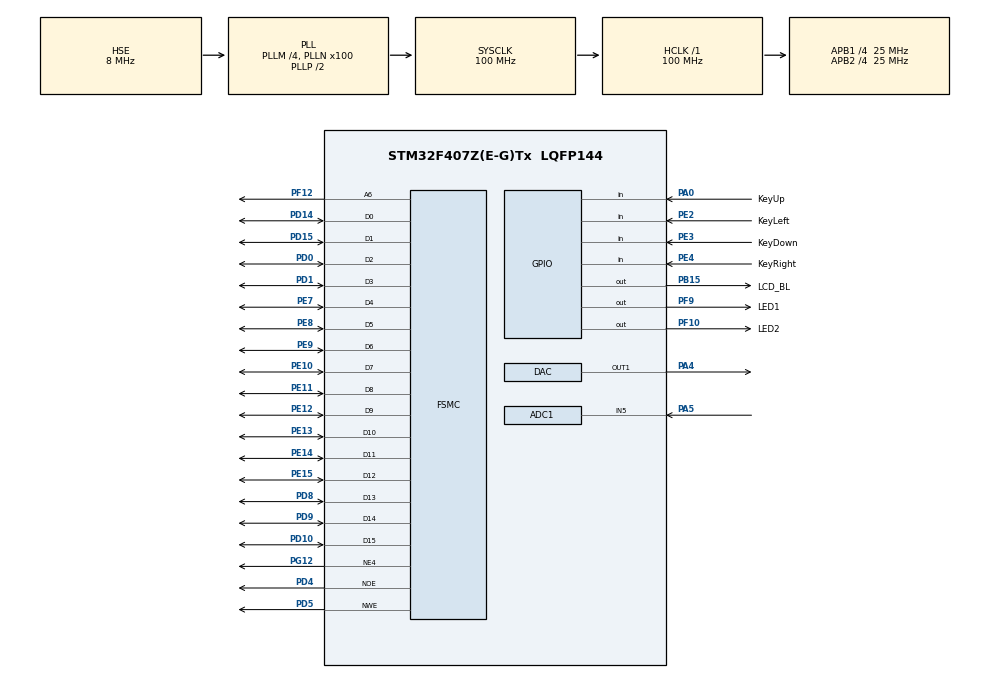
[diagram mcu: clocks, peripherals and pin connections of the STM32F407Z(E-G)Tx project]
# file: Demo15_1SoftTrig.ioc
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ADC1.Channel-0\#ChannelRegularConversion=ADC_CHANNEL_5
ADC1.ExternalTrigConv=ADC_EXTERNALTRIGCONV_T3_TRGO
ADC1.NbrOfConversionFlag=1
ADC1.Rank-0\#ChannelRegularConversion=1
ADC1.SamplingTime-0\#ChannelRegularConversion=ADC_SAMPLETIME_3CYCLES
ADC1.master=1
FSMC.AccessMode4=FSMC_ACCESS_MODE_A
FSMC.AddressSetupTime4=2
FSMC.BusTurnAroundDuration4=0
FSMC.DataSetupTime4=16
FSMC.ExtendedAccessMode4=FSMC_ACCESS_MODE_A
FSMC.ExtendedAddressSetupTime4=4
FSMC.ExtendedBusTurnAroundDuration4=0
FSMC.ExtendedDataSetupTime4=9
FSMC.ExtendedMode4=FSMC_EXTENDED_MODE_ENABLE
FSMC.NSBank4=FSMC_NORSRAM_BANK4
FSMC.WriteOperation4=FSMC_WRITE_OPERATION_ENABLE
Mcu.Family=STM32F4
Mcu.Name=STM32F407Z(E-G)Tx
Mcu.Package=LQFP144
NVIC.ADC_IRQn=true\:1\:0\:true\:false\:true\:true\:true\:true
NVIC.PriorityGroup=NVIC_PRIORITYGROUP_4
PA0-WKUP.GPIO_Label=KeyUp
PA0-WKUP.GPIO_PuPd=GPIO_PULLDOWN
PA0-WKUP.Signal=GPIO_Input
PA13.Mode=Serial_Wire
PA13.Signal=SYS_JTMS-SWDIO
PA14.Mode=Serial_Wire
PA14.Signal=SYS_JTCK-SWCLK
PA4.Signal=COMP_DAC1_group
PA5.Signal=ADCx_IN5
PB15.GPIO_Label=LCD_BL
PB15.PinState=GPIO_PIN_RESET
PB15.Signal=GPIO_Output
PC14-OSC32_IN.Mode=LSE-External-Oscillator
PC14-OSC32_IN.Signal=RCC_OSC32_IN
PC15-OSC32_OUT.Mode=LSE-External-Oscillator
PC15-OSC32_OUT.Signal=RCC_OSC32_OUT
PD0.Signal=FSMC_D2_DA2
PD1.Signal=FSMC_D3_DA3
PD10.Signal=FSMC_D15_DA15
PD14.Signal=FSMC_D0_DA0
PD15.Signal=FSMC_D1_DA1
PD4.Signal=FSMC_NOE
PD5.Signal=FSMC_NWE
PD8.Signal=FSMC_D13_DA13
PD9.Signal=FSMC_D14_DA14
PE10.Signal=FSMC_D7_DA7
PE11.Signal=FSMC_D8_DA8
PE12.Signal=FSMC_D9_DA9
PE13.Signal=FSMC_D10_DA10
PE14.Signal=FSMC_D11_DA11
PE15.Signal=FSMC_D12_DA12
PE2.GPIO_Label=KeyLeft
PE2.GPIO_PuPd=GPIO_PULLUP
PE2.Signal=GPIO_Input
PE3.GPIO_Label=KeyDown
PE3.GPIO_PuPd=GPIO_PULLUP
PE3.Signal=GPIO_Input
PE4.GPIO_Label=KeyRight
PE4.GPIO_PuPd=GPIO_PULLUP
PE4.Signal=GPIO_Input
PE7.Signal=FSMC_D4_DA4
PE8.Signal=FSMC_D5_DA5
PE9.Signal=FSMC_D6_DA6
PF10.GPIO_Label=LED2
PF10.Signal=GPIO_Output
PF12.Signal=FSMC_A6
PF9.GPIO_Label=LED1
PF9.Signal=GPIO_Output
PG12.Mode=NorPsramChipSelect4_4
PG12.Signal=FSMC_NE4
PH0-OSC_IN.Mode=HSE-External-Oscillator
PH0-OSC_IN.Signal=RCC_OSC_IN
PH1-OSC_OUT.Mode=HSE-External-Oscillator
PH1-OSC_OUT.Signal=RCC_OSC_OUT
ProjectManager.HeapSize=0x200
ProjectManager.StackSize=0x400
ProjectManager.TargetToolchain=STM32CubeIDE
RCC.48MHZClocksFreq_Value=50000000
RCC.AHBFreq_Value=100000000
RCC.APB1CLKDivider=RCC_HCLK_DIV4
RCC.APB1Freq_Value=25000000
RCC.APB1TimFreq_Value=50000000
RCC.APB2CLKDivider=RCC_HCLK_DIV4
RCC.APB2Freq_Value=25000000
RCC.APB2TimFreq_Value=50000000
RCC.CortexFreq_Value=100000000
RCC.FLatency=FLASH_LATENCY_3
RCC.HCLKFreq_Value=100000000
RCC.HSE_VALUE=8000000
RCC.HSI_VALUE=16000000
RCC.PLLM=4
RCC.PLLN=100
RCC.PLLSourceVirtual=RCC_PLLSOURCE_HSE
RCC.SYSCLKFreq_VALUE=100000000
RCC.SYSCLKSource=RCC_SYSCLKSOURCE_PLLCLK
RCC.VCOOutputFreq_Value=200000000
SH.ADCx_IN5.0=ADC1_IN5,IN5
SH.COMP_DAC1_group.0=DAC_OUT1,DAC_OUT1
SH.FSMC_A6.0=FSMC_A6,A6_4
SH.FSMC_D0_DA0.0=FSMC_D0,16b-d4
SH.FSMC_D10_DA10.0=FSMC_D10,16b-d4
SH.FSMC_D11_DA11.0=FSMC_D11,16b-d4
SH.FSMC_D12_DA12.0=FSMC_D12,16b-d4
SH.FSMC_D13_DA13.0=FSMC_D13,16b-d4
SH.FSMC_D14_DA14.0=FSMC_D14,16b-d4
SH.FSMC_D15_DA15.0=FSMC_D15,16b-d4
SH.FSMC_D1_DA1.0=FSMC_D1,16b-d4
SH.FSMC_D2_DA2.0=FSMC_D2,16b-d4
SH.FSMC_D3_DA3.0=FSMC_D3,16b-d4
SH.FSMC_D4_DA4.0=FSMC_D4,16b-d4
SH.FSMC_D5_DA5.0=FSMC_D5,16b-d4
SH.FSMC_D6_DA6.0=FSMC_D6,16b-d4
SH.FSMC_D7_DA7.0=FSMC_D7,16b-d4
SH.FSMC_D8_DA8.0=FSMC_D8,16b-d4
SH.FSMC_D9_DA9.0=FSMC_D9,16b-d4
SH.FSMC_NOE.0=FSMC_NOE,Lcd4
SH.FSMC_NWE.0=FSMC_NWE,Lcd4
TIM3.Period=499
TIM3.Prescaler=49999
TIM3.TIM_MasterOutputTrigger=TIM_TRGO_UPDATE
VP_TIM3_VS_ClockSourceINT.Mode=Internal
board=custom

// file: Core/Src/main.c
/* USER CODE BEGIN Header */
/**
  ******************************************************************************
  * @file           : main.c
  * @brief          : Main program body
  ******************************************************************************
  * @attention
  *
  * Copyright (c) 2023 STMicroelectronics.
  * All rights reserved.
  *
  * This software is licensed under terms that can be found in the LICENSE file
  * in the root directory of this software component.
  * If no LICENSE file comes with this software, it is provided AS-IS.
  *
  ******************************************************************************
  */
/* USER CODE END Header */
#include "main.h"
#include "adc.h"
#include "dac.h"
#include "tim.h"
#include "gpio.h"
#include "fsmc.h"

/* USER CODE BEGIN Includes */
#include "lcd.h"
#include "keyled.h"
/* USER CODE END Includes */

void SystemClock_Config(void);

int main(void)
{

  /* MCU Configuration--------------------------------------------------------*/

  /* Reset of all peripherals, Initializes the Flash interface and the Systick. */
  HAL_Init();

  /* Configure the system clock */
  SystemClock_Config();

  /* Initialize all configured peripherals */
  MX_GPIO_Init();
  MX_FSMC_Init();
  MX_ADC1_Init();
  MX_DAC_Init();
  MX_TIM3_Init();
  /* USER CODE BEGIN 2 */
  lcd_init();
  lcd_show_str(10, 10, 16, "Demo15_1: DAC1 by soft trigger", RED);
  lcd_show_str(10, 30, 16, "Connect PA4 & PA5", RED);
  lcd_show_str(10, 50, 16, "DAC1 output to PA4", RED);
  lcd_show_str(10, 70, 16, "ADC1-IN5 acquire PA5", RED);
  lcd_show_str(10, 90, 16, "KeyUp   = DAC1 output ++", RED);
  lcd_show_str(10, 110, 16, "KeyDown = DAC1 output --", RED);

  lcd_show_str(10, 130, 16, "DAC Output =", RED);
  lcd_show_str(10, 150, 16, "ADC Input =", RED);
  lcd_show_str(10, 170, 16, "Voltage(mV) = ", RED);

  HAL_DAC_Start(&hdac, DAC_CHANNEL_1);
  uint32_t DacOutValue = 1000;
  HAL_DAC_SetValue(&hdac, DAC_CHANNEL_1, DAC_ALIGN_12B_R, DacOutValue);
  lcd_show_num(150, 130, DacOutValue, 4, 16, RED);

  HAL_ADC_Start_IT(&hadc1);
  HAL_TIM_Base_Start(&htim3);

  /* USER CODE END 2 */

  /* Infinite loop */
  /* USER CODE BEGIN WHILE */
  while (1)
  {
	  KEYS curKey = ScanPressedKey(KEY_WAIT_ALWAYS);
	  if (curKey == KEY_UP) {
		  DacOutValue += 50;
	  } else if (curKey == KEY_DOWN) {
		  DacOutValue -= 50;
	  }

	  HAL_DAC_SetValue(&hdac, DAC_CHANNEL_1, DAC_ALIGN_12B_R, DacOutValue);
	  lcd_show_num(150, 130, DacOutValue, 4, 16, RED);
	  HAL_Delay(300);
    /* USER CODE END WHILE */

  }
}

void SystemClock_Config(void)
{
  RCC_OscInitTypeDef RCC_OscInitStruct = {0};
  RCC_ClkInitTypeDef RCC_ClkInitStruct = {0};

  /** Configure the main internal regulator output voltage
  */
  __HAL_RCC_PWR_CLK_ENABLE();
  __HAL_PWR_VOLTAGESCALING_CONFIG(PWR_REGULATOR_VOLTAGE_SCALE1);

  /** Initializes the RCC Oscillators according to the specified parameters
  * in the RCC_OscInitTypeDef structure.
  */
  RCC_OscInitStruct.OscillatorType = RCC_OSCILLATORTYPE_HSE;
  RCC_OscInitStruct.HSEState = RCC_HSE_ON;
  RCC_OscInitStruct.PLL.PLLState = RCC_PLL_ON;
  RCC_OscInitStruct.PLL.PLLSource = RCC_PLLSOURCE_HSE;
  RCC_OscInitStruct.PLL.PLLM = 4;
  RCC_OscInitStruct.PLL.PLLN = 100;
  RCC_OscInitStruct.PLL.PLLP = RCC_PLLP_DIV2;
  RCC_OscInitStruct.PLL.PLLQ = 4;
  if (HAL_RCC_OscConfig(&RCC_OscInitStruct) != HAL_OK)
  {
    Error_Handler();
  }

  /** Initializes the CPU, AHB and APB buses clocks
  */
  RCC_ClkInitStruct.ClockType = RCC_CLOCKTYPE_HCLK|RCC_CLOCKTYPE_SYSCLK
                              |RCC_CLOCKTYPE_PCLK1|RCC_CLOCKTYPE_PCLK2;
  RCC_ClkInitStruct.SYSCLKSource = RCC_SYSCLKSOURCE_PLLCLK;
  RCC_ClkInitStruct.AHBCLKDivider = RCC_SYSCLK_DIV1;
  RCC_ClkInitStruct.APB1CLKDivider = RCC_HCLK_DIV4;
  RCC_ClkInitStruct.APB2CLKDivider = RCC_HCLK_DIV4;

  if (HAL_RCC_ClockConfig(&RCC_ClkInitStruct, FLASH_LATENCY_3) != HAL_OK)
  {
    Error_Handler();
  }
}

/* USER CODE BEGIN 4 */
void HAL_ADC_ConvCpltCallback(ADC_HandleTypeDef* hadc) {
	uint32_t val = HAL_ADC_GetValue(hadc);
	lcd_show_num(150, 150, val, 4, 16, RED);

	uint32_t Volt = val * 3300 >> 12;
	lcd_show_num(150, 170, Volt, 4, 16, RED);
}
/* USER CODE END 4 */

void Error_Handler(void)
{
  __disable_irq();
  while (1)
  {
  }
}
